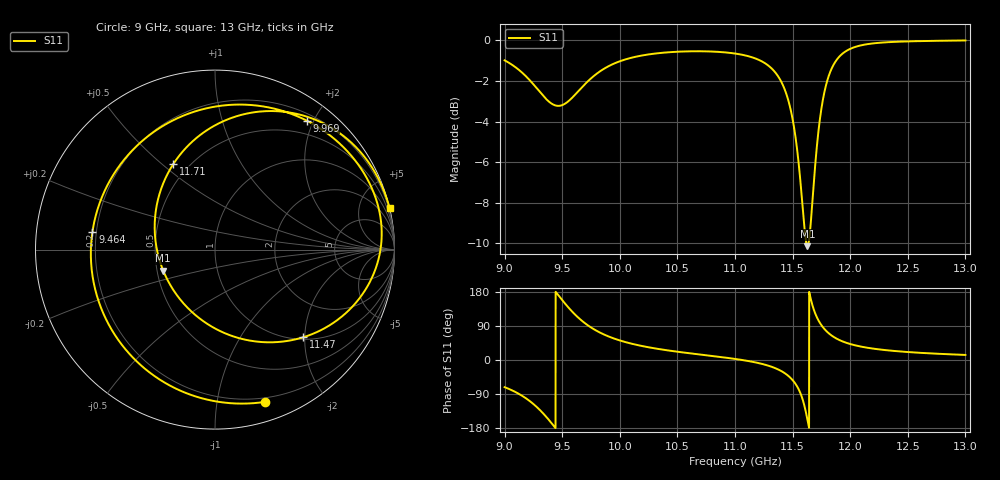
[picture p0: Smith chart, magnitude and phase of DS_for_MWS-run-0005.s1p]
! TOUCHSTONE file generated by CST DESIGN STUDIO
! Date and time: Tue Feb  4 18:09:23 2025
! Project name: C:\Work\MatlabApps\UnitCellOptimizationMatlab\CST\unitcell.cst
! Tree item: Tasks\Sweep1\SPara1\S-Parameters
! Header version: 2024
! Port assignment regex: !\s*Touchstone port\s*([0-9]+)\s*=\s*(CST MWS port|CST DES external port|CST DES block port)\s*(.+)\s* \(\"(.*)\"\)(\s*mode\s*([0-9]+))?.*
! Touchstone port assignment:
! Touchstone port 1 = CST DES external port 1 ("")
# GHz S MA R 50
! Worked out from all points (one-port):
!   4001 points, 9 GHz to 13 GHz, reference 50 ohm
!   lowest |S11| = -10.1 dB at 11.63 GHz (marker M1), VSWR 1.90, Z = 27 - j7.03 ohm
!   |S11| at or under -10 dB: 11.61961 GHz to 11.63822 GHz (18.6 MHz wide, 0.16 % of centre)
!   S11 on the Smith chart (normalised r, x): 9 GHz: 0.16, -1.37; 9.464 GHz: 0.18, +0.07; 9.969 GHz: 0.29, +1.90; 11.47 GHz: 1.04, -1.96; 11.71 GHz: 0.41, +0.55; 13 GHz: 0.00, +8.54
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9  0.8933 -71.7
9.141  0.8385 -92.4
9.248  0.7808 -115.7
9.37  0.713 -153.0
9.464  0.69 171.8
9.5  0.693 158.1
9.596  0.7273 124.6
9.692  0.7776 98.3
9.829  0.8397 72.2
9.969  0.8817 54.6
10  0.8886 51.6
10.214  0.9204 35.6
10.5  0.938 21.8
11  0.9284 2.9
11.307  0.8588 -16.7
11.474  0.6926 -44.9
11.5  0.6402 -53.0
11.569  0.4461 -88.4
11.629  0.3114 -157.8
11.666  0.3807 151.2
11.706  0.5307 115.9
11.752  0.6849 91.1
11.804  0.8017 73.1
11.892  0.903 54.8
12  0.9534 42.2
12.191  0.9828 30.4
12.5  0.9946 21.0
13  0.9999 13.4
